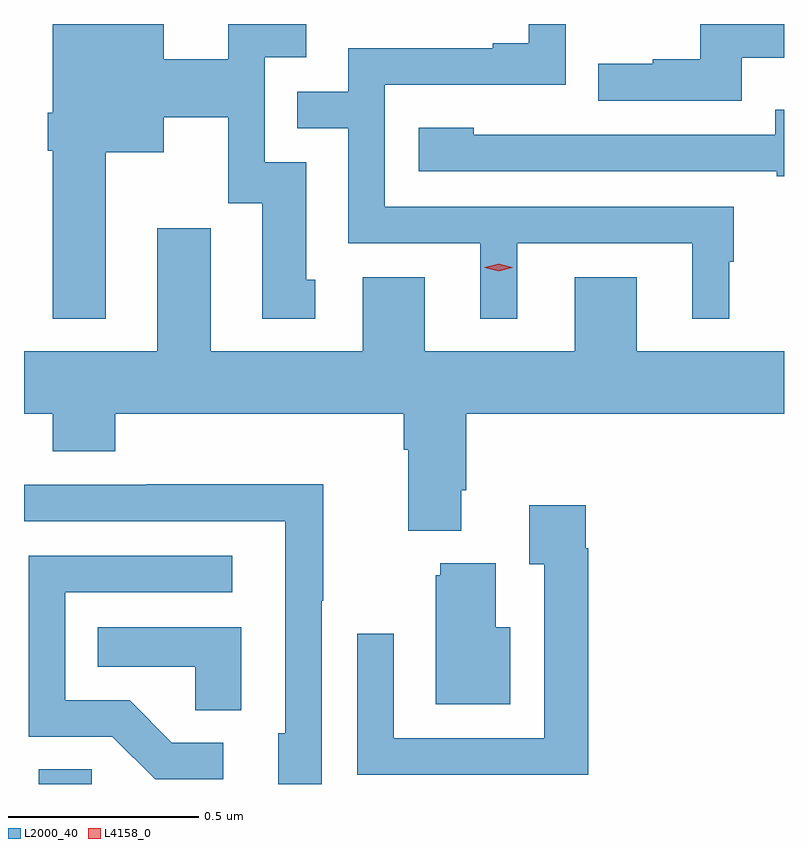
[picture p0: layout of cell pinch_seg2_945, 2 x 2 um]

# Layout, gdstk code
import gdstk
lib = gdstk.Library(unit=1e-6, precision=1e-09)
def R(c, l, rs):  # rectangles x0, y0, x1, y1
    for r in rs: c.add(gdstk.rectangle(r[:2], r[2:], *l))
def P(c, l, *ps):  # polygons
    for p in ps: c.add(gdstk.Polygon(p, *l))
L2000_40 = (2000, 40)
L4158_0 = (4158, 0)

pinch_seg2_945 = lib.new_cell('pinch_seg2_945')
R(pinch_seg2_945, L2000_40, [(533.471,649.325,533.61,649.364)])
P(pinch_seg2_945, L2000_40, [(535.321,651.236),(535.432,651.236),(535.432,651.325),(535.211,651.325),(535.211,651.232),(535.087,651.232),(535.087,651.22),(534.943,651.22),(534.943,651.123),(535.321,651.123)],
  [(534.73,650.748),(535.19,650.748),(535.19,650.549),(535.288,650.549),(535.288,650.7),(535.3,650.7),(535.3,650.844),(534.381,650.844),(534.381,651.165),(534.858,651.165),(534.858,651.325),(534.76,651.325),(534.76,651.274),(534.665,651.274),(534.665,651.261),(534.285,651.261),(534.285,651.147),(534.151,651.147),(534.151,651.051),(534.285,651.051),(534.285,650.748),(534.632,650.748),(534.632,650.549),(534.73,650.549)],
  [(533.647,650.987),(533.8,650.987),(533.8,651.08),(533.97,651.08),(533.97,650.853),(534.059,650.853),(534.059,650.55),(534.199,650.55),(534.199,650.652),(534.175,650.652),(534.175,650.961),(534.066,650.961),(534.066,651.237),(534.175,651.237),(534.175,651.325),(533.969,651.325),(533.969,651.232),(533.8,651.232),(533.8,651.325),(533.507,651.325),(533.507,651.091),(533.495,651.091),(533.495,650.991),(533.507,650.991),(533.507,650.549),(533.647,650.549)],
  [(535.432,651.1),(535.409,651.1),(535.409,651.033),(534.851,651.033),(534.851,651.034),(534.615,651.034),(534.615,651.052),(534.471,651.052),(534.471,650.937),(535.413,650.937),(535.413,650.925),(535.432,650.925)],
  [(534.583,650.098),(534.596,650.098),(534.596,650.3),(535.432,650.3),(535.432,650.464),(535.045,650.464),(535.045,650.659),(534.881,650.659),(534.881,650.464),(534.487,650.464),(534.487,650.659),(534.323,650.659),(534.323,650.464),(533.923,650.464),(533.923,650.788),(533.783,650.788),(533.783,650.464),(533.432,650.464),(533.432,650.3),(533.507,650.3),(533.507,650.201),(533.672,650.201),(533.672,650.3),(534.431,650.3),(534.431,650.204),(534.443,650.204),(534.443,649.991),(534.583,649.991)],
  [(534.216,649.807),(534.219,649.807),(534.219,650.114),(533.755,650.114),(533.755,650.112),(533.432,650.112),(533.432,650.016),(534.12,650.016),(534.12,649.458),(534.101,649.458),(534.101,649.325),(534.216,649.325)],
  [(534.917,649.946),(534.91,649.946),(534.91,650.059),(534.761,650.059),(534.761,649.903),(534.801,649.903),(534.801,649.446),(534.405,649.446),(534.405,649.72),(534.309,649.72),(534.309,649.35),(534.625,649.35),(534.625,649.349),(534.917,649.349)],
  [(533.956,649.434),(533.821,649.434),(533.71,649.545),(533.541,649.545),(533.541,649.83),(533.98,649.83),(533.98,649.926),(533.445,649.926),(533.445,649.449),(533.664,649.449),(533.777,649.337),(533.956,649.337)],
  [(534.712,649.738),(534.673,649.738),(534.673,649.906),(534.527,649.906),(534.527,649.875),(534.515,649.875),(534.515,649.535),(534.712,649.535)],
  [(534.004,649.738),(533.626,649.738),(533.626,649.634),(533.883,649.634),(533.883,649.519),(534.004,649.519)])
P(pinch_seg2_945, L4158_0, [(534.681,650.674),(534.645,650.684),(534.645,650.684),(534.645,650.685),(534.681,650.694),(534.717,650.685),(534.717,650.684),(534.717,650.684)])

lib.write_gds('pinch_seg2_945.gds')
